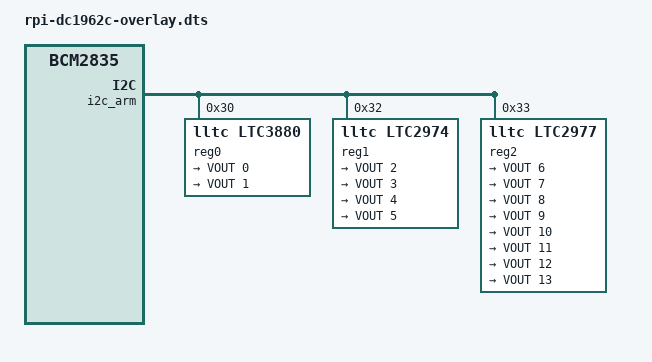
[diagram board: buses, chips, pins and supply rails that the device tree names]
// SPDX-License-Identifier: GPL-2.0
/dts-v1/;
/plugin/;

/ {
	compatible = "brcm, bcm2835";

	fragment@0 {
		target = <&i2c_arm>;
		__overlay__ {
			#address-cells = <1>;
			#size-cells = <0>;
			status = "okay";

			reg0: ltc3880@30 {
				compatible = "lltc,ltc3880";
				reg = <0x30>;
				regulators {
					vout0 {
						regulator-name = "VOUT 0";
						regulator-boot-on;
						regulator-always-on;
					};
					vout1 {
						regulator-name = "VOUT 1";
						regulator-boot-on;
						regulator-always-on;
					};
				};
			};
		};
	};

	fragment@1 {
		target = <&i2c_arm>;
		__overlay__ {
			#address-cells = <1>;
			#size-cells = <0>;
			status = "okay";

			reg1: ltc2974@32 {
				compatible = "lltc,ltc2974";
				reg = <0x32>;
				regulators {
					vout0 {
						regulator-name = "VOUT 2";
						regulator-boot-on;
						regulator-always-on;
					};
					vout1 {
						regulator-name = "VOUT 3";
						regulator-boot-on;
						regulator-always-on;
					};
					vout2 {
						regulator-name = "VOUT 4";
						regulator-boot-on;
						regulator-always-on;
					};
					vout3 {
						regulator-name = "VOUT 5";
						regulator-boot-on;
						regulator-always-on;
					};
				};
			};
		};
	};

	fragment@2 {
		target = <&i2c_arm>;
		__overlay__ {
			#address-cells = <1>;
			#size-cells = <0>;
			status = "okay";

			reg2: ltc2977@33 {
				compatible = "lltc,ltc2977";
				reg = <0x33>;
				regulators {
					vout0 {
						regulator-name = "VOUT 6";
						regulator-boot-on;
						regulator-always-on;
					};
					vout1 {
						regulator-name = "VOUT 7";
						regulator-boot-on;
						regulator-always-on;
					};
					vout2 {
						regulator-name = "VOUT 8";
						regulator-boot-on;
						regulator-always-on;
					};
					vout3 {
						regulator-name = "VOUT 9";
						regulator-boot-on;
						regulator-always-on;
					};
					vout4 {
						regulator-name = "VOUT 10";
						regulator-boot-on;
						regulator-always-on;
					};
					vout5 {
						regulator-name = "VOUT 11";
						regulator-boot-on;
						regulator-always-on;
					};
					vout6 {
						regulator-name = "VOUT 12";
						regulator-boot-on;
						regulator-always-on;
					};
					vout7 {
						regulator-name = "VOUT 13";
						regulator-boot-on;
						regulator-always-on;
					};
				};
			};
		};
	};
};
